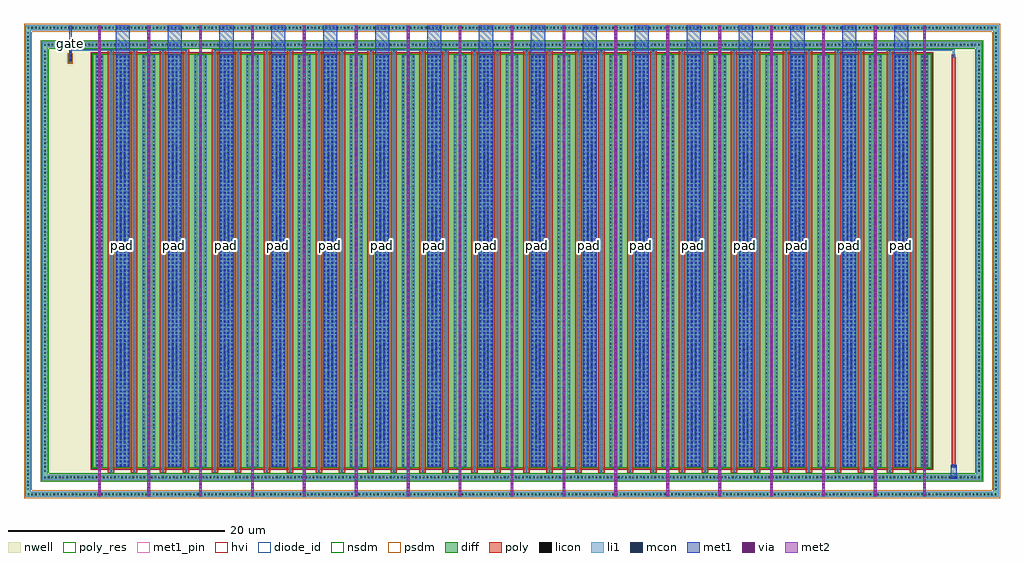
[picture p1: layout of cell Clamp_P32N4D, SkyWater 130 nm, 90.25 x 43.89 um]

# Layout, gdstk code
import gdstk
lib = gdstk.Library(unit=1e-6, precision=1e-09)
def R(c, l, rs):  # rectangles x0, y0, x1, y1
    for r in rs: c.add(gdstk.rectangle(r[:2], r[2:], *l))
def A(c, l, x, y, w, h, nx, ny, dx, dy):  # array of equal rectangles
    R(c, l, [(x+i*dx, y+j*dy, x+i*dx+w, y+j*dy+h) for i in range(nx) for j in range(ny)])
def P(c, l, *ps):  # polygons
    for p in ps: c.add(gdstk.Polygon(p, *l))
nwell = (64, 20)
diff = (65, 20)
poly_res = (66, 13)
poly = (66, 20)
licon = (66, 44)
li1 = (67, 20)
mcon = (67, 44)
met1_pin = (68, 16)
met1 = (68, 20)
via = (68, 44)
met2 = (69, 20)
hvi = (75, 20)
diode_id = (81, 23)
nsdm = (93, 44)
psdm = (94, 20)

guardring_p18000w8728hff = lib.new_cell('GuardRing_P18000W8728HFF')
P(guardring_p18000w8728hff, diff, [(-45,-21.82),(-45,21.34),(-44.52,21.34),(-44.52,-21.34),(44.52,-21.34),(44.52,21.34),(-45,21.34),(-45,21.82),(45,21.82),(45,-21.82)])
A(guardring_p18000w8728hff, licon, -44.795, -21.665, 0.17, 0.17, 264, 2, 0.34, 43.16)
A(guardring_p18000w8728hff, licon, -44.845, -21.165, 0.17, 0.17, 1, 125, 0, 0.34)
A(guardring_p18000w8728hff, licon, 44.675, -21.165, 0.17, 0.17, 1, 125, 0, 0.34)
P(guardring_p18000w8728hff, li1, [(-45,-21.82),(-45,21.34),(-44.52,21.34),(-44.52,-21.34),(44.52,-21.34),(44.52,21.34),(-45,21.34),(-45,21.82),(45,21.82),(45,-21.82)])
P(guardring_p18000w8728hff, psdm, [(-45.125,-21.945),(-45.125,21.215),(-44.395,21.215),(-44.395,-21.215),(44.395,-21.215),(44.395,21.215),(-45.125,21.215),(-45.125,21.945),(45.125,21.945),(45.125,-21.945)])

guardring_n17368w8096htf = lib.new_cell('GuardRing_N17368W8096HTF')
R(guardring_n17368w8096htf, nwell, [(-43.6,-20.42,43.6,20.42)])
P(guardring_n17368w8096htf, diff, [(-43.42,-20.24),(-43.42,19.76),(-42.94,19.76),(-42.94,-19.76),(42.94,-19.76),(42.94,19.76),(-43.42,19.76),(-43.42,20.24),(43.42,20.24),(43.42,-20.24)])
A(guardring_n17368w8096htf, licon, -43.265, -20.085, 0.17, 0.17, 255, 2, 0.34, 40)
A(guardring_n17368w8096htf, licon, -43.265, -19.465, 0.17, 0.17, 1, 115, 0, 0.34)
A(guardring_n17368w8096htf, licon, 43.095, -19.465, 0.17, 0.17, 1, 115, 0, 0.34)
P(guardring_n17368w8096htf, li1, [(-43.42,-20.24),(-43.42,19.76),(-42.94,19.76),(-42.94,-19.76),(42.94,-19.76),(42.94,19.76),(-43.42,19.76),(-43.42,20.24),(43.42,20.24),(43.42,-20.24)])
P(guardring_n17368w8096htf, nsdm, [(-43.545,-20.365),(-43.545,19.635),(-42.815,19.635),(-42.815,-19.635),(42.815,-19.635),(42.815,19.635),(-43.545,19.635),(-43.545,20.365),(43.545,20.365),(43.545,-20.365)])

clamp_p32n4d = lib.new_cell('Clamp_P32N4D')
R(clamp_p32n4d, nwell, [(6.07,2.54,83.93,41.1), (3.85,39.99,4.46,41.1)])
R(clamp_p32n4d, diff, [(6.25,2.72,83.75,40.92), (4.03,40.17,4.28,40.92)])
R(clamp_p32n4d, poly_res, [(85.675,2.985,86.015,40.655)])
R(clamp_p32n4d, poly, [(7.635,2.26,8.235,41.38), (9.765,2.26,10.365,41.38), (12.435,2.26,13.035,41.38), (14.565,2.26,15.165,41.38), (17.235,2.26,17.835,41.38), (19.365,2.26,19.965,41.38), (22.035,2.26,22.635,41.38), (24.165,2.26,24.765,41.38), (26.835,2.26,27.435,41.38), (28.965,2.26,29.565,41.38), (31.635,2.26,32.235,41.38), (33.765,2.26,34.365,41.38), (36.435,2.26,37.035,41.38), (38.565,2.26,39.165,41.38), (41.235,2.26,41.835,41.38), (43.365,2.26,43.965,41.38), (46.035,2.26,46.635,41.38), (48.165,2.26,48.765,41.38), (50.835,2.26,51.435,41.38), (52.965,2.26,53.565,41.38), (55.635,2.26,56.235,41.38), (57.765,2.26,58.365,41.38), (60.435,2.26,61.035,41.38), (62.565,2.26,63.165,41.38), (65.235,2.26,65.835,41.38), (67.365,2.26,67.965,41.38), (70.035,2.26,70.635,41.38), (72.165,2.26,72.765,41.38), (74.835,2.26,75.435,41.38), (76.965,2.26,77.565,41.38), (79.635,2.26,80.235,41.38), (81.765,2.26,82.365,41.38), (85.68,2.69,86.01,40.95)])
A(clamp_p32n4d, licon, 6.515, 2.865, 0.17, 0.17, 1, 112, 0, 0.34)
A(clamp_p32n4d, licon, 7.025, 2.865, 0.17, 0.17, 1, 112, 0, 0.34)
A(clamp_p32n4d, licon, 8.745, 2.865, 0.17, 0.17, 1, 112, 0, 0.34)
A(clamp_p32n4d, licon, 9.085, 2.865, 0.17, 0.17, 1, 112, 0, 0.34)
A(clamp_p32n4d, licon, 10.805, 2.865, 0.17, 0.17, 3, 112, 0.51, 0.34)
A(clamp_p32n4d, licon, 13.545, 2.865, 0.17, 0.17, 1, 112, 0, 0.34)
A(clamp_p32n4d, licon, 13.885, 2.865, 0.17, 0.17, 1, 112, 0, 0.34)
A(clamp_p32n4d, licon, 15.605, 2.865, 0.17, 0.17, 3, 112, 0.51, 0.34)
A(clamp_p32n4d, licon, 18.345, 2.865, 0.17, 0.17, 1, 112, 0, 0.34)
A(clamp_p32n4d, licon, 18.685, 2.865, 0.17, 0.17, 1, 112, 0, 0.34)
A(clamp_p32n4d, licon, 20.405, 2.865, 0.17, 0.17, 3, 112, 0.51, 0.34)
A(clamp_p32n4d, licon, 23.145, 2.865, 0.17, 0.17, 1, 112, 0, 0.34)
A(clamp_p32n4d, licon, 23.485, 2.865, 0.17, 0.17, 1, 112, 0, 0.34)
A(clamp_p32n4d, licon, 25.205, 2.865, 0.17, 0.17, 3, 112, 0.51, 0.34)
A(clamp_p32n4d, licon, 27.945, 2.865, 0.17, 0.17, 1, 112, 0, 0.34)
A(clamp_p32n4d, licon, 28.285, 2.865, 0.17, 0.17, 1, 112, 0, 0.34)
A(clamp_p32n4d, licon, 30.005, 2.865, 0.17, 0.17, 3, 112, 0.51, 0.34)
A(clamp_p32n4d, licon, 32.745, 2.865, 0.17, 0.17, 1, 112, 0, 0.34)
A(clamp_p32n4d, licon, 33.085, 2.865, 0.17, 0.17, 1, 112, 0, 0.34)
A(clamp_p32n4d, licon, 34.805, 2.865, 0.17, 0.17, 3, 112, 0.51, 0.34)
A(clamp_p32n4d, licon, 37.545, 2.865, 0.17, 0.17, 1, 112, 0, 0.34)
A(clamp_p32n4d, licon, 37.885, 2.865, 0.17, 0.17, 1, 112, 0, 0.34)
A(clamp_p32n4d, licon, 39.605, 2.865, 0.17, 0.17, 3, 112, 0.51, 0.34)
A(clamp_p32n4d, licon, 42.345, 2.865, 0.17, 0.17, 1, 112, 0, 0.34)
A(clamp_p32n4d, licon, 42.685, 2.865, 0.17, 0.17, 1, 112, 0, 0.34)
A(clamp_p32n4d, licon, 44.405, 2.865, 0.17, 0.17, 3, 112, 0.51, 0.34)
A(clamp_p32n4d, licon, 47.145, 2.865, 0.17, 0.17, 1, 112, 0, 0.34)
A(clamp_p32n4d, licon, 47.485, 2.865, 0.17, 0.17, 1, 112, 0, 0.34)
A(clamp_p32n4d, licon, 49.205, 2.865, 0.17, 0.17, 3, 112, 0.51, 0.34)
A(clamp_p32n4d, licon, 51.945, 2.865, 0.17, 0.17, 1, 112, 0, 0.34)
A(clamp_p32n4d, licon, 52.285, 2.865, 0.17, 0.17, 1, 112, 0, 0.34)
A(clamp_p32n4d, licon, 54.005, 2.865, 0.17, 0.17, 3, 112, 0.51, 0.34)
A(clamp_p32n4d, licon, 56.745, 2.865, 0.17, 0.17, 1, 112, 0, 0.34)
A(clamp_p32n4d, licon, 57.085, 2.865, 0.17, 0.17, 1, 112, 0, 0.34)
A(clamp_p32n4d, licon, 58.805, 2.865, 0.17, 0.17, 3, 112, 0.51, 0.34)
A(clamp_p32n4d, licon, 61.545, 2.865, 0.17, 0.17, 1, 112, 0, 0.34)
A(clamp_p32n4d, licon, 61.885, 2.865, 0.17, 0.17, 1, 112, 0, 0.34)
A(clamp_p32n4d, licon, 63.605, 2.865, 0.17, 0.17, 3, 112, 0.51, 0.34)
A(clamp_p32n4d, licon, 66.345, 2.865, 0.17, 0.17, 1, 112, 0, 0.34)
A(clamp_p32n4d, licon, 66.685, 2.865, 0.17, 0.17, 1, 112, 0, 0.34)
A(clamp_p32n4d, licon, 68.405, 2.865, 0.17, 0.17, 3, 112, 0.51, 0.34)
A(clamp_p32n4d, licon, 71.145, 2.865, 0.17, 0.17, 1, 112, 0, 0.34)
A(clamp_p32n4d, licon, 71.485, 2.865, 0.17, 0.17, 1, 112, 0, 0.34)
A(clamp_p32n4d, licon, 73.205, 2.865, 0.17, 0.17, 3, 112, 0.51, 0.34)
A(clamp_p32n4d, licon, 75.945, 2.865, 0.17, 0.17, 1, 112, 0, 0.34)
A(clamp_p32n4d, licon, 76.285, 2.865, 0.17, 0.17, 1, 112, 0, 0.34)
A(clamp_p32n4d, licon, 78.005, 2.865, 0.17, 0.17, 3, 112, 0.51, 0.34)
A(clamp_p32n4d, licon, 80.745, 2.865, 0.17, 0.17, 1, 112, 0, 0.34)
A(clamp_p32n4d, licon, 81.085, 2.865, 0.17, 0.17, 1, 112, 0, 0.34)
A(clamp_p32n4d, licon, 82.805, 2.865, 0.17, 0.17, 1, 112, 0, 0.34)
A(clamp_p32n4d, licon, 83.315, 2.865, 0.17, 0.17, 1, 112, 0, 0.34)
R(clamp_p32n4d, licon, [(7.85,2.31,8.02,2.48), (9.98,2.31,10.15,2.48), (12.65,2.31,12.82,2.48), (14.78,2.31,14.95,2.48), (17.45,2.31,17.62,2.48), (19.58,2.31,19.75,2.48), (22.25,2.31,22.42,2.48), (24.38,2.31,24.55,2.48), (27.05,2.31,27.22,2.48), (29.18,2.31,29.35,2.48), (31.85,2.31,32.02,2.48), (33.98,2.31,34.15,2.48), (36.65,2.31,36.82,2.48), (38.78,2.31,38.95,2.48), (41.45,2.31,41.62,2.48), (43.58,2.31,43.75,2.48), (46.25,2.31,46.42,2.48), (48.38,2.31,48.55,2.48), (51.05,2.31,51.22,2.48), (53.18,2.31,53.35,2.48), (55.85,2.31,56.02,2.48), (57.98,2.31,58.15,2.48), (60.65,2.31,60.82,2.48), (62.78,2.31,62.95,2.48), (65.45,2.31,65.62,2.48), (67.58,2.31,67.75,2.48), (70.25,2.31,70.42,2.48), (72.38,2.31,72.55,2.48), (75.05,2.31,75.22,2.48), (77.18,2.31,77.35,2.48), (79.85,2.31,80.02,2.48), (81.98,2.31,82.15,2.48), (85.76,2.77,85.93,2.94), (4.07,40.29,4.24,40.46), (4.07,40.63,4.24,40.8), (85.76,40.7,85.93,40.87), (7.85,41.16,8.02,41.33), (9.98,41.16,10.15,41.33), (12.65,41.16,12.82,41.33), (14.78,41.16,14.95,41.33), (17.45,41.16,17.62,41.33), (19.58,41.16,19.75,41.33), (22.25,41.16,22.42,41.33), (24.38,41.16,24.55,41.33), (27.05,41.16,27.22,41.33), (29.18,41.16,29.35,41.33), (31.85,41.16,32.02,41.33), (33.98,41.16,34.15,41.33), (36.65,41.16,36.82,41.33), (38.78,41.16,38.95,41.33), (41.45,41.16,41.62,41.33), (43.58,41.16,43.75,41.33), (46.25,41.16,46.42,41.33), (48.38,41.16,48.55,41.33), (51.05,41.16,51.22,41.33), (53.18,41.16,53.35,41.33), (55.85,41.16,56.02,41.33), (57.98,41.16,58.15,41.33), (60.65,41.16,60.82,41.33), (62.78,41.16,62.95,41.33), (65.45,41.16,65.62,41.33), (67.58,41.16,67.75,41.33), (70.25,41.16,70.42,41.33), (72.38,41.16,72.55,41.33), (75.05,41.16,75.22,41.33), (77.18,41.16,77.35,41.33), (79.85,41.16,80.02,41.33), (81.98,41.16,82.15,41.33)])
A(clamp_p32n4d, li1, 11.315, 1.58, 0.17, 0.48, 15, 2, 4.8, 40)
A(clamp_p32n4d, li1, 8.375, 2.785, 1.25, 38.07, 16, 1, 4.8, 0)
A(clamp_p32n4d, li1, 10.805, 2.785, 1.19, 38.07, 15, 1, 4.8, 0)
R(clamp_p32n4d, li1, [(6.77,1.58,6.94,2.06), (83.06,1.58,83.23,2.06), (85.58,1.735,86.11,1.905), (6.515,2.785,7.195,40.855), (82.805,2.785,83.485,40.855), (6.77,41.58,6.94,42.06), (83.06,41.58,83.23,42.06)])
P(clamp_p32n4d, li1, [(85.76,2.69),(85.76,2.77),(85.58,2.77),(85.58,2.94),(85.76,2.94),(85.76,3.02),(85.93,3.02),(85.93,2.94),(86.11,2.94),(86.11,2.77),(85.93,2.77),(85.93,2.69)],
  [(7.85,2.23),(7.85,41.24),(4.24,41.24),(4.24,40.21),(4.07,40.21),(4.07,41.41),(14.95,41.41),(14.95,2.23),(14.78,2.23),(14.78,41.24),(12.82,41.24),(12.82,2.23),(12.65,2.23),(12.65,41.24),(10.15,41.24),(10.15,2.23),(9.98,2.23),(9.98,41.24),(8.02,41.24),(8.02,2.23)],
  [(17.45,2.23),(17.45,41.41),(85.93,41.41),(85.93,40.62),(85.76,40.62),(85.76,41.24),(82.15,41.24),(82.15,2.23),(81.98,2.23),(81.98,41.24),(80.02,41.24),(80.02,2.23),(79.85,2.23),(79.85,41.24),(77.35,41.24),(77.35,2.23),(77.18,2.23),(77.18,41.24),(75.22,41.24),(75.22,2.23),(75.05,2.23),(75.05,41.24),(72.55,41.24),(72.55,2.23),(72.38,2.23),(72.38,41.24),(70.42,41.24),(70.42,2.23),(70.25,2.23),(70.25,41.24),(67.75,41.24),(67.75,2.23),(67.58,2.23),(67.58,41.24),(65.62,41.24),(65.62,2.23),(65.45,2.23),(65.45,41.24),(62.95,41.24),(62.95,2.23),(62.78,2.23),(62.78,41.24),(60.82,41.24),(60.82,2.23),(60.65,2.23),(60.65,41.24),(58.15,41.24),(58.15,2.23),(57.98,2.23),(57.98,41.24),(56.02,41.24),(56.02,2.23),(55.85,2.23),(55.85,41.24),(53.35,41.24),(53.35,2.23),(53.18,2.23),(53.18,41.24),(51.22,41.24),(51.22,2.23),(51.05,2.23),(51.05,41.24),(48.55,41.24),(48.55,2.23),(48.38,2.23),(48.38,41.24),(46.42,41.24),(46.42,2.23),(46.25,2.23),(46.25,41.24),(43.75,41.24),(43.75,2.23),(43.58,2.23),(43.58,41.24),(41.62,41.24),(41.62,2.23),(41.45,2.23),(41.45,41.24),(38.95,41.24),(38.95,2.23),(38.78,2.23),(38.78,41.24),(36.82,41.24),(36.82,2.23),(36.65,2.23),(36.65,41.24),(34.15,41.24),(34.15,2.23),(33.98,2.23),(33.98,41.24),(32.02,41.24),(32.02,2.23),(31.85,2.23),(31.85,41.24),(29.35,41.24),(29.35,2.23),(29.18,2.23),(29.18,41.24),(27.22,41.24),(27.22,2.23),(27.05,2.23),(27.05,41.24),(24.55,41.24),(24.55,2.23),(24.38,2.23),(24.38,41.24),(22.42,41.24),(22.42,2.23),(22.25,2.23),(22.25,41.24),(19.75,41.24),(19.75,2.23),(19.58,2.23),(19.58,41.24),(17.62,41.24),(17.62,2.23)])
A(clamp_p32n4d, mcon, 11.315, 1.735, 0.17, 0.17, 15, 2, 4.8, 40)
A(clamp_p32n4d, mcon, 6.77, 2.835, 0.17, 0.17, 1, 106, 0, 0.36)
A(clamp_p32n4d, mcon, 8.375, 2.835, 0.17, 0.17, 4, 106, 0.36, 0.36)
A(clamp_p32n4d, mcon, 11.315, 2.835, 0.17, 0.17, 1, 106, 0, 0.36)
A(clamp_p32n4d, mcon, 13.175, 2.835, 0.17, 0.17, 4, 106, 0.36, 0.36)
A(clamp_p32n4d, mcon, 16.115, 2.835, 0.17, 0.17, 1, 106, 0, 0.36)
A(clamp_p32n4d, mcon, 17.975, 2.835, 0.17, 0.17, 4, 106, 0.36, 0.36)
A(clamp_p32n4d, mcon, 20.915, 2.835, 0.17, 0.17, 1, 106, 0, 0.36)
A(clamp_p32n4d, mcon, 22.775, 2.835, 0.17, 0.17, 4, 106, 0.36, 0.36)
A(clamp_p32n4d, mcon, 25.715, 2.835, 0.17, 0.17, 1, 106, 0, 0.36)
A(clamp_p32n4d, mcon, 27.575, 2.835, 0.17, 0.17, 4, 106, 0.36, 0.36)
A(clamp_p32n4d, mcon, 30.515, 2.835, 0.17, 0.17, 1, 106, 0, 0.36)
A(clamp_p32n4d, mcon, 32.375, 2.835, 0.17, 0.17, 4, 106, 0.36, 0.36)
A(clamp_p32n4d, mcon, 35.315, 2.835, 0.17, 0.17, 1, 106, 0, 0.36)
A(clamp_p32n4d, mcon, 37.175, 2.835, 0.17, 0.17, 4, 106, 0.36, 0.36)
A(clamp_p32n4d, mcon, 40.115, 2.835, 0.17, 0.17, 1, 106, 0, 0.36)
A(clamp_p32n4d, mcon, 41.975, 2.835, 0.17, 0.17, 4, 106, 0.36, 0.36)
A(clamp_p32n4d, mcon, 44.915, 2.835, 0.17, 0.17, 1, 106, 0, 0.36)
A(clamp_p32n4d, mcon, 46.775, 2.835, 0.17, 0.17, 4, 106, 0.36, 0.36)
A(clamp_p32n4d, mcon, 49.715, 2.835, 0.17, 0.17, 1, 106, 0, 0.36)
A(clamp_p32n4d, mcon, 51.575, 2.835, 0.17, 0.17, 4, 106, 0.36, 0.36)
A(clamp_p32n4d, mcon, 54.515, 2.835, 0.17, 0.17, 1, 106, 0, 0.36)
A(clamp_p32n4d, mcon, 56.375, 2.835, 0.17, 0.17, 4, 106, 0.36, 0.36)
A(clamp_p32n4d, mcon, 59.315, 2.835, 0.17, 0.17, 1, 106, 0, 0.36)
A(clamp_p32n4d, mcon, 61.175, 2.835, 0.17, 0.17, 4, 106, 0.36, 0.36)
A(clamp_p32n4d, mcon, 64.115, 2.835, 0.17, 0.17, 1, 106, 0, 0.36)
A(clamp_p32n4d, mcon, 65.975, 2.835, 0.17, 0.17, 4, 106, 0.36, 0.36)
A(clamp_p32n4d, mcon, 68.915, 2.835, 0.17, 0.17, 1, 106, 0, 0.36)
A(clamp_p32n4d, mcon, 70.775, 2.835, 0.17, 0.17, 4, 106, 0.36, 0.36)
A(clamp_p32n4d, mcon, 73.715, 2.835, 0.17, 0.17, 1, 106, 0, 0.36)
A(clamp_p32n4d, mcon, 75.575, 2.835, 0.17, 0.17, 4, 106, 0.36, 0.36)
A(clamp_p32n4d, mcon, 78.515, 2.835, 0.17, 0.17, 1, 106, 0, 0.36)
A(clamp_p32n4d, mcon, 80.375, 2.835, 0.17, 0.17, 4, 106, 0.36, 0.36)
A(clamp_p32n4d, mcon, 83.06, 2.835, 0.17, 0.17, 1, 106, 0, 0.36)
A(clamp_p32n4d, mcon, 4.07, 40.365, 0.17, 0.17, 1, 3, 0, 0.36)
R(clamp_p32n4d, mcon, [(6.77,1.735,6.94,1.905), (83.06,1.735,83.23,1.905), (85.58,1.735,85.75,1.905), (85.94,1.735,86.11,1.905), (85.58,2.77,85.75,2.94), (85.94,2.77,86.11,2.94), (6.77,41.735,6.94,41.905), (83.06,41.735,83.23,41.905)])
A(clamp_p32n4d, met1_pin, 8.345, 2.775, 1.31, 40.865, 16, 1, 4.8, 0)
R(clamp_p32n4d, met1_pin, [(4.04,40.305,4.27,43.64)])
A(clamp_p32n4d, met1, 11.27, 0, 0.26, 43.64, 15, 1, 4.8, 0)
A(clamp_p32n4d, met1, 8.345, 2.775, 1.31, 40.865, 16, 1, 4.8, 0)
R(clamp_p32n4d, met1, [(6.725,0,6.985,43.64), (83.015,0,83.275,43.64), (85.55,1.675,86.14,3), (4.04,40.305,4.27,43.64)])
A(clamp_p32n4d, via, 6.78, 0.145, 0.15, 0.15, 1, 136, 0, 0.32)
A(clamp_p32n4d, via, 11.325, 0.145, 0.15, 0.15, 15, 136, 4.8, 0.32)
A(clamp_p32n4d, via, 83.07, 0.145, 0.15, 0.15, 1, 136, 0, 0.32)
A(clamp_p32n4d, met2, 11.27, 0.06, 0.26, 43.52, 15, 1, 4.8, 0)
R(clamp_p32n4d, met2, [(6.725,0.06,6.985,43.58), (83.015,0.06,83.275,43.58)])
R(clamp_p32n4d, hvi, [(6.05,2.52,83.95,41.12)])
R(clamp_p32n4d, diode_id, [(4.025,40.165,4.285,40.925)])
A(clamp_p32n4d, nsdm, 11.05, 2.595, 0.7, 38.45, 15, 1, 4.8, 0)
R(clamp_p32n4d, nsdm, [(6.125,2.595,6.95,41.045), (83.05,2.595,83.875,41.045)])
A(clamp_p32n4d, psdm, 6.95, 2.595, 4.1, 38.45, 16, 1, 4.8, 0)
R(clamp_p32n4d, psdm, [(3.905,40.045,4.405,41.045)])
clamp_p32n4d.add(gdstk.Reference(guardring_p18000w8728hff, (45,21.82)))
clamp_p32n4d.add(gdstk.Reference(guardring_n17368w8096htf, (45,21.82)))
clamp_p32n4d.add(gdstk.Label('pad', (9,23.208), layer=68, texttype=16))
clamp_p32n4d.add(gdstk.Label('pad', (28.2,23.208), layer=68, texttype=16))
clamp_p32n4d.add(gdstk.Label('pad', (61.8,23.208), layer=68, texttype=16))
clamp_p32n4d.add(gdstk.Label('pad', (66.6,23.208), layer=68, texttype=16))
clamp_p32n4d.add(gdstk.Label('pad', (23.4,23.208), layer=68, texttype=16))
clamp_p32n4d.add(gdstk.Label('pad', (37.8,23.208), layer=68, texttype=16))
clamp_p32n4d.add(gdstk.Label('pad', (71.4,23.208), layer=68, texttype=16))
clamp_p32n4d.add(gdstk.Label('pad', (42.6,23.208), layer=68, texttype=16))
clamp_p32n4d.add(gdstk.Label('pad', (18.6,23.208), layer=68, texttype=16))
clamp_p32n4d.add(gdstk.Label('pad', (76.2,23.208), layer=68, texttype=16))
clamp_p32n4d.add(gdstk.Label('pad', (81,23.208), layer=68, texttype=16))
clamp_p32n4d.add(gdstk.Label('pad', (13.8,23.208), layer=68, texttype=16))
clamp_p32n4d.add(gdstk.Label('pad', (33,23.208), layer=68, texttype=16))
clamp_p32n4d.add(gdstk.Label('pad', (47.4,23.208), layer=68, texttype=16))
clamp_p32n4d.add(gdstk.Label('pad', (57,23.208), layer=68, texttype=16))
clamp_p32n4d.add(gdstk.Label('pad', (52.2,23.208), layer=68, texttype=16))
clamp_p32n4d.add(gdstk.Label('gate', (4.155,41.973), layer=68, texttype=16))

lib.write_gds('Clamp_P32N4D.gds')
